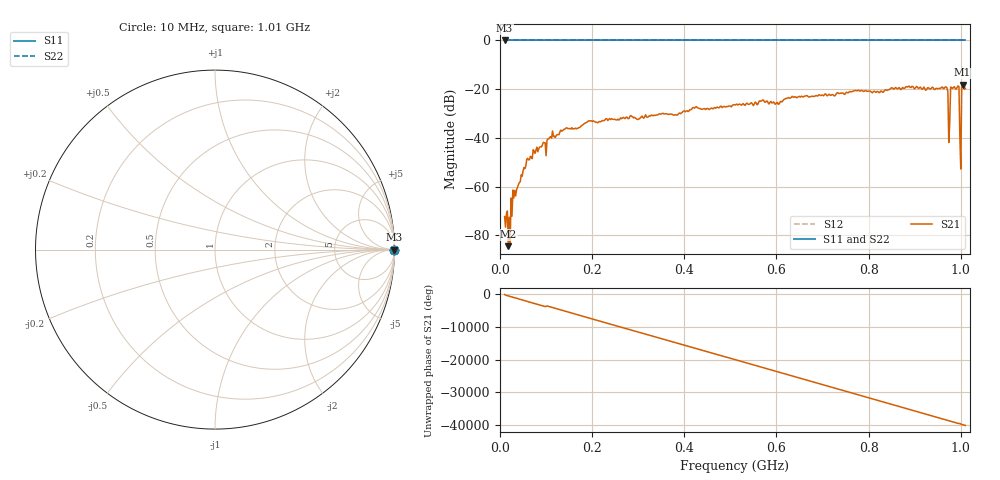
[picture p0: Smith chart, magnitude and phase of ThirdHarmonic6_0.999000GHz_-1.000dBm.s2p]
! 8/16/2025 8:02:38 AM
! C:\ANRITSUVNA\TEMP\TEMP.S2P
! CHANNEL.1
! TR.MEASUREMENT
! RAW.DATA
! RF.CORRECTION.OFF
! AVERAGING.OFF
! IF.BANDWIDTH: 5KHZ
! SWEEPTYPE:  FREQ.SWEEP(Linear)
! Reference Plane Port Info
! PORT:  PORT1  PORT2
! DISTANCE:  0  m  0  m
! TIME:  0  s  0  s
! PHASE.OFFSET:  0  deg.  0  deg.
! LOSS:  0  dB  0  dB
! REF.LOSS:  0  dB  0  dB
! REF.FREQ:  0  Hz  0  Hz
! Power Info
! POWER:  -20  dBm  -20  dBm
! EFF.POWER:  -20  dBm  -20  dBm
! SOURCE.ATTEN:  0  dB  0  dB
! TEST.ATTEN:  0  dB  0  dB
# GHZ S RI R 50.0
! FREQ.GHZ  S11RE  S11IM  S21RE  S21IM  S12RE  S12IM  S22RE  S22IM
!; PortSelection: Port_12
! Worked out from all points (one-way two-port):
!   501 points, 10 MHz to 1.01 GHz, reference 50 ohm
!   highest |S21| = -18.16 dB at 1.004 GHz (marker M1); lowest = -84.4 dB at 18 MHz (marker M2)
!   lowest |S11| = 0.0 dB at 10 MHz (marker M3)
!   |S11| at or under -10 dB: nowhere
!   |S22| runs from 0.0 to 0.0 dB; largest |S21 - S12| = 1.1
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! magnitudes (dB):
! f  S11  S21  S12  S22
! 10 MHz  0.0  -72.3  0.0  0.0
! 18 MHz  0.0  -84.4  0.0  0.0
! 22 MHz  0.0  -83.4  0.0  0.0
! 28 MHz  0.0  -61.4  0.0  0.0
! 62 MHz  0.0  -49.0  0.0  0.0
! 110 MHz  0.0  -39.5  0.0  0.0
! 178 MHz  0.0  -34.9  0.0  0.0
! 344 MHz  0.0  -30.3  0.0  0.0
! 510 MHz  0.0  -26.5  0.0  0.0
! 678 MHz  0.0  -22.9  0.0  0.0
! 844 MHz  0.0  -20.2  0.0  0.0
! 966 MHz  0.0  -19.1  0.0  0.0
! 972 MHz  0.0  -21.1  0.0  0.0
! 974 MHz  0.0  -41.9  0.0  0.0
! 978 MHz  0.0  -19.1  0.0  0.0
! 982 MHz  0.0  -19.7  0.0  0.0
! 992 MHz  0.0  -19.2  0.0  0.0
! 996 MHz  0.0  -18.9  0.0  0.0
! 1.002 GHz  0.0  -18.5  0.0  0.0
! 1.004 GHz  0.0  -18.2  0.0  0.0
! 1.006 GHz  0.0  -19.3  0.0  0.0
! 1.01 GHz  0.0  -19.6  0.0  0.0
